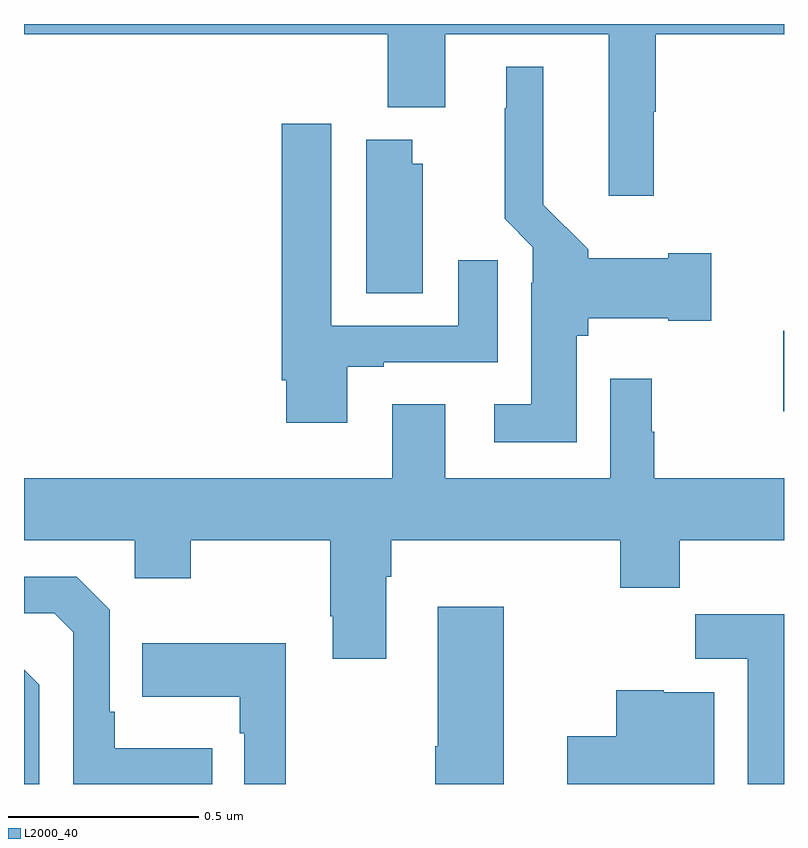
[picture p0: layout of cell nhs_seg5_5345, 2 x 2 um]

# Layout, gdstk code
import gdstk
lib = gdstk.Library(unit=1e-6, precision=1e-09)
def R(c, l, rs):  # rectangles x0, y0, x1, y1
    for r in rs: c.add(gdstk.rectangle(r[:2], r[2:], *l))
def P(c, l, *ps):  # polygons
    for p in ps: c.add(gdstk.Polygon(p, *l))
L2000_40 = (2000, 40)

nhs_seg5_5345 = lib.new_cell('nhs_seg5_5345')
R(nhs_seg5_5345, L2000_40, [(183.998,843.78,184,843.992)])
P(nhs_seg5_5345, L2000_40, [(183.657,844.568),(183.662,844.568),(183.662,844.772),(184,844.772),(184,844.799),(182,844.799),(182,844.772),(182.957,844.772),(182.957,844.58),(183.109,844.58),(183.109,844.772),(183.539,844.772),(183.539,844.347),(183.657,844.347)],
  [(183.454,843.978),(183.485,843.978),(183.485,844.025),(183.695,844.025),(183.695,844.018),(183.808,844.018),(183.808,844.196),(183.695,844.196),(183.695,844.183),(183.485,844.183),(183.485,844.206),(183.367,844.324),(183.367,844.687),(183.269,844.687),(183.269,844.577),(183.265,844.577),(183.265,844.286),(183.339,844.212),(183.339,844.118),(183.335,844.118),(183.335,843.799),(183.237,843.799),(183.237,843.698),(183.454,843.698)],
  [(182.851,843.897),(182.947,843.897),(182.947,843.909),(183.247,843.909),(183.247,844.177),(183.143,844.177),(183.143,844.005),(182.809,844.005),(182.809,844.537),(182.678,844.537),(182.678,843.862),(182.69,843.862),(182.69,843.75),(182.851,843.75)],
  [(183.049,844.431),(183.022,844.431),(183.022,844.495),(182.9,844.495),(182.9,844.09),(183.049,844.09)],
  [(182.953,843.344),(182.966,843.344),(182.966,843.44),(183.569,843.44),(183.569,843.316),(183.725,843.316),(183.725,843.44),(184,843.44),(184,843.604),(183.659,843.604),(183.659,843.726),(183.652,843.726),(183.652,843.865),(183.543,843.865),(183.543,843.604),(183.109,843.604),(183.109,843.799),(182.969,843.799),(182.969,843.604),(182,843.604),(182,843.44),(182.292,843.44),(182.292,843.341),(182.439,843.341),(182.439,843.44),(182.806,843.44),(182.806,843.241),(182.813,843.241),(182.813,843.129),(182.953,843.129)],
  [(182.495,842.893),(182.239,842.893),(182.239,842.989),(182.226,842.989),(182.226,843.258),(182.139,843.345),(182,843.345),(182,843.249),(182.079,843.249),(182.13,843.198),(182.13,842.799),(182.495,842.799)],
  [(183.262,843.265),(183.089,843.265),(183.089,842.899),(183.082,842.899),(183.082,842.799),(183.262,842.799)],
  [(184,843.246),(183.766,843.246),(183.766,843.128),(183.905,843.128),(183.905,842.799),(184,842.799)],
  [(182.689,843.169),(182.311,843.169),(182.311,843.029),(182.568,843.029),(182.568,842.933),(182.58,842.933),(182.58,842.799),(182.689,842.799)],
  [(182.04,843.06),(182,843.1),(182,842.799),(182.04,842.799)],
  [(183.817,843.04),(183.684,843.04),(183.684,843.046),(183.559,843.046),(183.559,842.925),(183.429,842.925),(183.429,842.799),(183.817,842.799)])

lib.write_gds('nhs_seg5_5345.gds')
